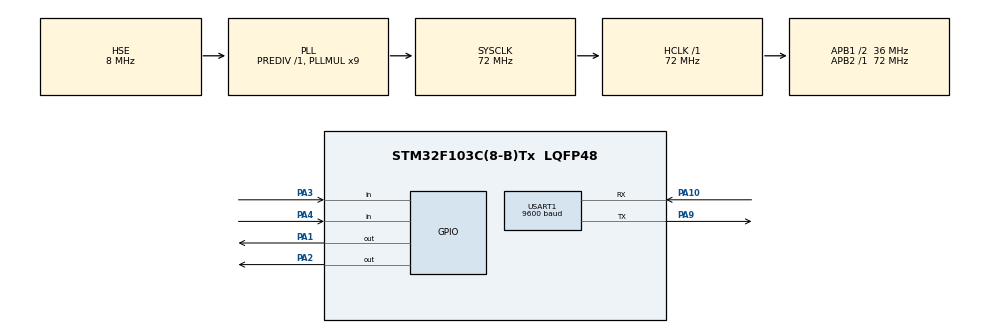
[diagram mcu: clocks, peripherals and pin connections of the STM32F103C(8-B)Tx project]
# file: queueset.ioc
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Mcu.Family=STM32F1
Mcu.Name=STM32F103C(8-B)Tx
Mcu.Package=LQFP48
NVIC.PriorityGroup=NVIC_PRIORITYGROUP_4
NVIC.TIM4_IRQn=true\:15\:0\:true\:false\:true\:false\:true\:true
NVIC.TimeBase=TIM4_IRQn
NVIC.TimeBaseIP=TIM4
PA1.Signal=GPIO_Output
PA10.Mode=Asynchronous
PA10.Signal=USART1_RX
PA13.Mode=Serial_Wire
PA13.Signal=SYS_JTMS-SWDIO
PA14.Mode=Serial_Wire
PA14.Signal=SYS_JTCK-SWCLK
PA2.Signal=GPIO_Output
PA3.GPIO_PuPd=GPIO_PULLDOWN
PA3.Signal=GPIO_Input
PA4.GPIO_PuPd=GPIO_PULLDOWN
PA4.Signal=GPIO_Input
PA9.Mode=Asynchronous
PA9.Signal=USART1_TX
PC14-OSC32_IN.Mode=LSE-External-Oscillator
PC14-OSC32_IN.Signal=RCC_OSC32_IN
PC15-OSC32_OUT.Mode=LSE-External-Oscillator
PC15-OSC32_OUT.Signal=RCC_OSC32_OUT
PD0-OSC_IN.Mode=HSE-External-Oscillator
PD0-OSC_IN.Signal=RCC_OSC_IN
PD1-OSC_OUT.Mode=HSE-External-Oscillator
PD1-OSC_OUT.Signal=RCC_OSC_OUT
ProjectManager.HeapSize=0x200
ProjectManager.StackSize=0x400
ProjectManager.TargetToolchain=CMake
RCC.AHBFreq_Value=72000000
RCC.APB1CLKDivider=RCC_HCLK_DIV2
RCC.APB1Freq_Value=36000000
RCC.APB1TimFreq_Value=72000000
RCC.APB2Freq_Value=72000000
RCC.APB2TimFreq_Value=72000000
RCC.HCLKFreq_Value=72000000
RCC.PLLMUL=RCC_PLL_MUL9
RCC.PLLSourceVirtual=RCC_PLLSOURCE_HSE
RCC.SYSCLKFreq_VALUE=72000000
RCC.SYSCLKSource=RCC_SYSCLKSOURCE_PLLCLK
RCC.USBFreq_Value=72000000
USART1.BaudRate=9600
USART1.VirtualMode=VM_ASYNC
VP_SYS_VS_tim4.Mode=TIM4
board=custom

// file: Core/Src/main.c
/* USER CODE BEGIN Header */
/**
  ******************************************************************************
  * @file           : main.c
  * @brief          : Main program body
  ******************************************************************************
  * @attention
  *
  * Copyright (c) 2026 STMicroelectronics.
  * All rights reserved.
  *
  * This software is licensed under terms that can be found in the LICENSE file
  * in the root directory of this software component.
  * If no LICENSE file comes with this software, it is provided AS-IS.
  *
  ******************************************************************************
  */
/* USER CODE END Header */
#include "main.h"
#include "usart.h"
#include "gpio.h"

/* USER CODE BEGIN Includes */
#include "FreeRTOS.h"
#include "portmacro.h"
#include "projdefs.h"
#include "stm32f103xb.h"
#include "stm32f1xx_hal.h"
#include "stm32f1xx_hal_gpio.h"
#include "task.h"
#include <stdio.h>
#include <string.h>
#include "queue.h"
#include "semphr.h"
/* USER CODE END Includes */

/* USER CODE BEGIN PV */
TaskHandle_t task1_handle = NULL;
TaskHandle_t task2_handle = NULL;
TaskHandle_t start_task_handler = NULL;
QueueSetHandle_t QueueSetHandle;
QueueHandle_t QueueHandle;
SemaphoreHandle_t BinarySemaphoreHandle;
/* USER CODE END PV */

void SystemClock_Config(void);
/* USER CODE BEGIN PFP */
void FreeRTOS_Start(void);
void Start_Task(void *pvParameters);
void Task1(void *argument);
void Task2(void *argument);
/* USER CODE END PFP */

int main(void)
{

  /* MCU Configuration--------------------------------------------------------*/

  /* Reset of all peripherals, Initializes the Flash interface and the Systick. */
  HAL_Init();

  /* Configure the system clock */
  SystemClock_Config();

  /* Initialize all configured peripherals */
  MX_GPIO_Init();
  MX_USART1_UART_Init();
  /* USER CODE BEGIN 2 */

  QueueHandle = xQueueCreate(5, sizeof(uint32_t));
  BinarySemaphoreHandle = xSemaphoreCreateBinary();
  QueueSetHandle = xQueueCreateSet(5 + 1);

  if (QueueHandle == NULL || BinarySemaphoreHandle == NULL || QueueSetHandle == NULL)
  {
    printf("Queue Set init fail\r\n");
  }

  if (xQueueAddToSet(QueueHandle, QueueSetHandle) != pdPASS)
  {
    printf("Queue Add Fail\r\n");
  }

  if (xQueueAddToSet(BinarySemaphoreHandle, QueueSetHandle) != pdPASS)
  {
    printf("Semaphore Add Fail\r\n");
  }

  FreeRTOS_Start();

  /* USER CODE END 2 */

  /* Infinite loop */
  while (1)
  {

  }
}

void SystemClock_Config(void)
{
  RCC_OscInitTypeDef RCC_OscInitStruct = {0};
  RCC_ClkInitTypeDef RCC_ClkInitStruct = {0};

  /** Initializes the RCC Oscillators according to the specified parameters
  * in the RCC_OscInitTypeDef structure.
  */
  RCC_OscInitStruct.OscillatorType = RCC_OSCILLATORTYPE_HSE;
  RCC_OscInitStruct.HSEState = RCC_HSE_ON;
  RCC_OscInitStruct.HSEPredivValue = RCC_HSE_PREDIV_DIV1;
  RCC_OscInitStruct.HSIState = RCC_HSI_ON;
  RCC_OscInitStruct.PLL.PLLState = RCC_PLL_ON;
  RCC_OscInitStruct.PLL.PLLSource = RCC_PLLSOURCE_HSE;
  RCC_OscInitStruct.PLL.PLLMUL = RCC_PLL_MUL9;
  if (HAL_RCC_OscConfig(&RCC_OscInitStruct) != HAL_OK)
  {
    Error_Handler();
  }

  /** Initializes the CPU, AHB and APB buses clocks
  */
  RCC_ClkInitStruct.ClockType = RCC_CLOCKTYPE_HCLK|RCC_CLOCKTYPE_SYSCLK
                              |RCC_CLOCKTYPE_PCLK1|RCC_CLOCKTYPE_PCLK2;
  RCC_ClkInitStruct.SYSCLKSource = RCC_SYSCLKSOURCE_PLLCLK;
  RCC_ClkInitStruct.AHBCLKDivider = RCC_SYSCLK_DIV1;
  RCC_ClkInitStruct.APB1CLKDivider = RCC_HCLK_DIV2;
  RCC_ClkInitStruct.APB2CLKDivider = RCC_HCLK_DIV1;

  if (HAL_RCC_ClockConfig(&RCC_ClkInitStruct, FLASH_LATENCY_2) != HAL_OK)
  {
    Error_Handler();
  }
}

/* USER CODE BEGIN 4 */
int __io_putchar(int ch)
{
  uint8_t data = (uint8_t)ch;
  HAL_UART_Transmit(&huart1, &data, 1, HAL_MAX_DELAY);
  return ch;
}

void FreeRTOS_Start(void)
{
  xTaskCreate(Start_Task, "Start_Task", 256, NULL, 1, &start_task_handler);
  vTaskStartScheduler();
}

void Start_Task(void * pvParameters)
{
  taskENTER_CRITICAL();               /* 進入臨界區 */

  xTaskCreate(Task1, "Task1", 128, NULL, 2, &task1_handle);
  xTaskCreate(Task2, "Task2", 128, NULL, 3, &task2_handle);

  vTaskDelete(NULL);
  taskEXIT_CRITICAL();                /* 退出臨界區 */
}

// 當 KEY1 按下，往 Queue 寫入資料；當 KEY2 按下，釋放二值號誌
void Task1(void *argument)
{
  BaseType_t result;
  uint32_t TxData = 537;

  for (;;)
  {
    if (HAL_GPIO_ReadPin(GPIOA, GPIO_PIN_3) == GPIO_PIN_SET)
    {
      vTaskDelay(pdMS_TO_TICKS(20));
      if (HAL_GPIO_ReadPin(GPIOA, GPIO_PIN_3) == GPIO_PIN_SET)
      {
        result = xQueueSend(QueueHandle, &TxData, portMAX_DELAY);
        if (result == pdPASS)
        {
          printf("Queue Success\r\n");
        }
        else
        {
          printf("Queue Fail\r\n");
        }
        while (HAL_GPIO_ReadPin(GPIOA, GPIO_PIN_3) == GPIO_PIN_SET)
        {
          vTaskDelay(pdMS_TO_TICKS(10));
        }
      }
      vTaskDelay(pdMS_TO_TICKS(20));
    }
    if (HAL_GPIO_ReadPin(GPIOA, GPIO_PIN_4) == GPIO_PIN_SET)
    {
      vTaskDelay(pdMS_TO_TICKS(20));
      if (HAL_GPIO_ReadPin(GPIOA, GPIO_PIN_4) == GPIO_PIN_SET)
      {
        result = xSemaphoreGive(BinarySemaphoreHandle);
        if (result == pdPASS)
        {
          printf("Semaphore Success\r\n");
        }
        else
        {
          printf("Semaphore Fail\r\n");
        }
        while (HAL_GPIO_ReadPin(GPIOA, GPIO_PIN_4) == GPIO_PIN_SET)
        {
          vTaskDelay(pdMS_TO_TICKS(10));
        }
      }
      vTaskDelay(pdMS_TO_TICKS(20));
    }
    vTaskDelay(pdMS_TO_TICKS(50));
  }
}

// 讀取 Queue Set 的訊息。Queue 翻轉 LED1；Semaphore 翻轉 LED2;
void Task2(void *argument)
{
  QueueSetMemberHandle_t ActiveMember;
  uint32_t RxData;

  for (;;)
  {
    ActiveMember = xQueueSelectFromSet(QueueSetHandle, portMAX_DELAY);

    if (ActiveMember == QueueHandle)
    {
      if (xQueueReceive(QueueHandle, &RxData, 0) == pdPASS)
      {
        printf("Get Data From Queue: %ld\r\n", RxData);
        HAL_GPIO_TogglePin(GPIOA, GPIO_PIN_1);
      }
    }
    else if (ActiveMember == BinarySemaphoreHandle)
    {
      if (xSemaphoreTake(BinarySemaphoreHandle, 0) == pdTRUE)
      {
        printf("Get Signal From Semaphore\r\n");
        HAL_GPIO_TogglePin(GPIOA, GPIO_PIN_2);
      }
    }
  }
}

/* USER CODE END 4 */

void HAL_TIM_PeriodElapsedCallback(TIM_HandleTypeDef *htim)
{
  if (htim->Instance == TIM4)
  {
    HAL_IncTick();
  }
}

void Error_Handler(void)
{
  __disable_irq();
  while (1)
  {
  }
}
